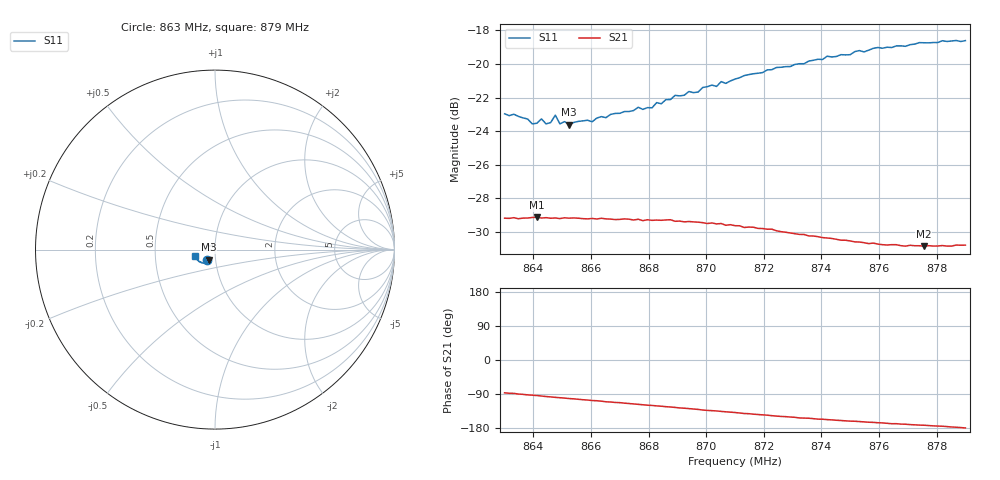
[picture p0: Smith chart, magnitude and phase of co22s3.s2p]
# HZ S RI R 50
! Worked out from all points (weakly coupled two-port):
!   101 points, 863 MHz to 879 MHz, reference 50 ohm
!   highest |S21| = -29.13 dB at 864.12 MHz (marker M1); lowest = -30.9 dB at 877.56 MHz (marker M2)
!   lowest |S11| = -23.6 dB at 865.24 MHz (marker M3), VSWR 1.14, Z = 46.3 - j5.19 ohm
!   |S11| at or under -10 dB: start of sweep to end of sweep
!   S12 and S22 are empty: the file has one direction only
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8.63e8  -0.0447 -0.0552  0.00208 -0.0347  0 0  0 0
8.6412e8  -0.039 -0.0539  -0.0023 -0.0349  0 0  0 0
8.6428e8  -0.0393 -0.0562  -0.00307 -0.0346  0 0  0 0
8.6444e8  -0.0379 -0.0544  -0.00393 -0.0346  0 0  0 0
8.646e8  -0.0376 -0.0553  -0.00446 -0.0344  0 0  0 0
8.6476e8  -0.0422 -0.0564  -0.00519 -0.0344  0 0  0 0
8.6492e8  -0.0365 -0.0554  -0.00575 -0.0341  0 0  0 0
8.6508e8  -0.0349 -0.0576  -0.0063 -0.0342  0 0  0 0
8.6524e8  -0.0353 -0.0557  -0.00707 -0.034  0 0  0 0
8.6572e8  -0.0354 -0.0577  -0.00884 -0.0335  0 0  0 0
8.6604e8  -0.0335 -0.0583  -0.0101 -0.0331  0 0  0 0
8.6636e8  -0.0361 -0.0596  -0.0111 -0.0329  0 0  0 0
8.6844e8  -0.0358 -0.0672  -0.0181 -0.029  0 0  0 0
8.6892e8  -0.0389 -0.0706  -0.0196 -0.0278  0 0  0 0
8.6972e8  -0.041 -0.0716  -0.0219 -0.0257  0 0  0 0
8.6988e8  -0.0428 -0.0735  -0.0226 -0.025  0 0  0 0
8.7036e8  -0.0456 -0.0726  -0.0234 -0.0238  0 0  0 0
8.71e8  -0.0498 -0.0751  -0.0247 -0.0218  0 0  0 0
8.7372e8  -0.0706 -0.0743  -0.0278 -0.0131  0 0  0 0
8.7644e8  -0.0942 -0.0605  -0.0283 -0.00595  0 0  0 0
8.7756e8  -0.1034 -0.0517  -0.0284 -0.00392  0 0  0 0
8.79e8  -0.1114 -0.037  -0.0289 -0.000387  0 0  0 0
